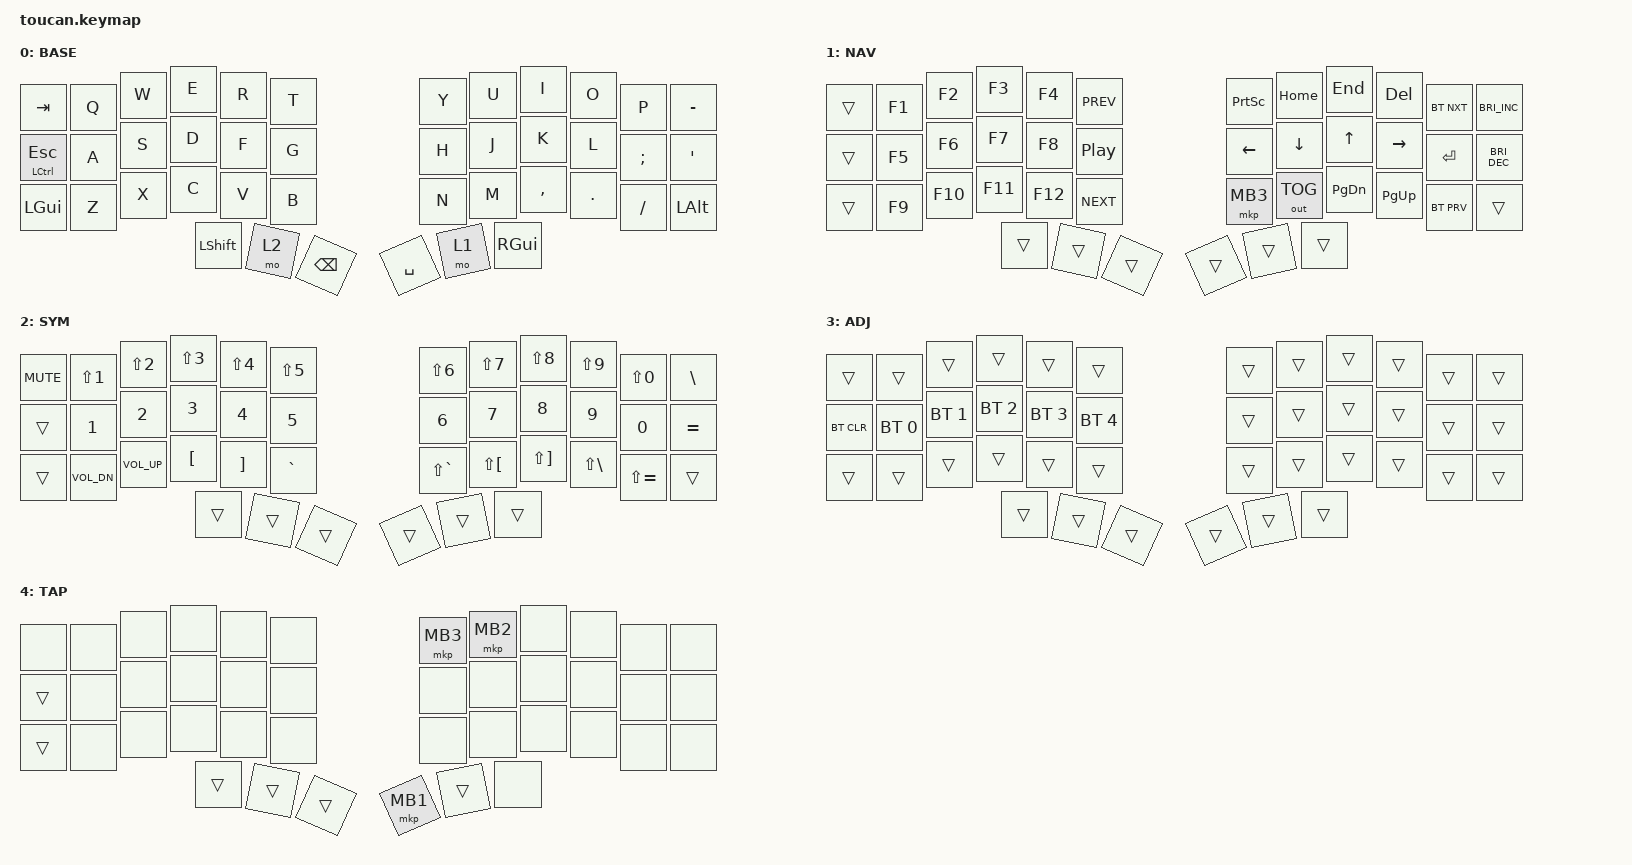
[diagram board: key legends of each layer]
#include <behaviors.dtsi>
#include <dt-bindings/zmk/keys.h>
#include <dt-bindings/zmk/bt.h>
#include <dt-bindings/zmk/outputs.h>
#include <dt-bindings/zmk/pointing.h>

/ {
    conditional_layers {
        compatible = "zmk,conditional-layers";
        tri_layer {
            if-layers = <1 2>;
            then-layer = <3>;
        };
    };

    keymap {
        compatible = "zmk,keymap";

        base {
            display-name = "BASE";
            bindings = <
                &kp TAB       &kp Q &kp W &kp E     &kp R &kp T        &kp Y     &kp U &kp I     &kp O   &kp P    &kp MINUS
                &mt LCTRL ESC &kp A &kp S &kp D     &kp F &kp G        &kp H     &kp J &kp K     &kp L   &kp SEMI &kp SQT
                &kp LGUI      &kp Z &kp X &kp C     &kp V &kp B        &kp N     &kp M &kp COMMA &kp DOT &kp FSLH &kp LALT
                                          &kp LSHFT &mo 2 &kp BSPC     &kp SPACE &mo 1 &kp RGUI
            >;
        };

        nav {
            display-name = "NAV";
            bindings = <
                &trans &kp F1 &kp F2  &kp F3  &kp F4  &kp C_PREV     &kp PSCRN &kp HOME     &kp END   &kp DEL   &bt BT_NXT &kp C_BRI_INC
                &trans &kp F5 &kp F6  &kp F7  &kp F8  &kp C_PP       &kp LEFT  &kp DOWN     &kp UP    &kp RIGHT &kp RET    &kp C_BRI_DEC
                &trans &kp F9 &kp F10 &kp F11 &kp F12 &kp C_NEXT     &mkp MB3  &out OUT_TOG &kp PG_DN &kp PG_UP &bt BT_PRV &trans
                                          &trans  &trans  &trans         &trans    &trans       &trans
            >;
        };

        sym {
            display-name = "SYM";
            bindings = <
                &kp C_MUTE &kp LS(N1)   &kp LS(N2)   &kp LS(N3) &kp LS(N4) &kp LS(N5)     &kp LS(N6)    &kp LS(N7)   &kp LS(N8)   &kp LS(N9)   &kp LS(N0)    &kp BSLH
                &trans     &kp N1       &kp N2       &kp N3     &kp N4     &kp N5         &kp N6        &kp N7       &kp N8       &kp N9       &kp N0        &kp EQUAL
                &trans     &kp C_VOL_DN &kp C_VOL_UP &kp LBKT   &kp RBKT   &kp GRAVE      &kp LS(GRAVE) &kp LS(LBKT) &kp LS(RBKT) &kp LS(BSLH) &kp LS(EQUAL) &trans
                                                     &trans     &trans     &trans         &trans        &trans       &trans
            >;
        };

        adj {
            display-name = "ADJ";
            bindings = <
                &trans     &trans       &trans       &trans       &trans       &trans           &trans &trans &trans &trans &trans &trans
                &bt BT_CLR &bt BT_SEL 0 &bt BT_SEL 1 &bt BT_SEL 2 &bt BT_SEL 3 &bt BT_SEL 4     &trans &trans &trans &trans &trans &trans
                &trans     &trans       &trans       &trans       &trans       &trans           &trans &trans &trans &trans &trans &trans
                                                     &trans       &trans       &trans           &trans &trans &trans
            >;
        };

        tap {
            display-name = "TAP";
            bindings = <
                &none  &none &none &none  &none  &none     &mkp MB3 &mkp MB2 &none &none &none &none
                &trans &none &none &none  &none  &none     &none    &none    &none &none &none &none
                &trans &none &none &none  &none  &none     &none    &none    &none &none &none &none
                                   &trans &trans &trans    &mkp MB1 &trans   &none
            >;
        };
    };
};
